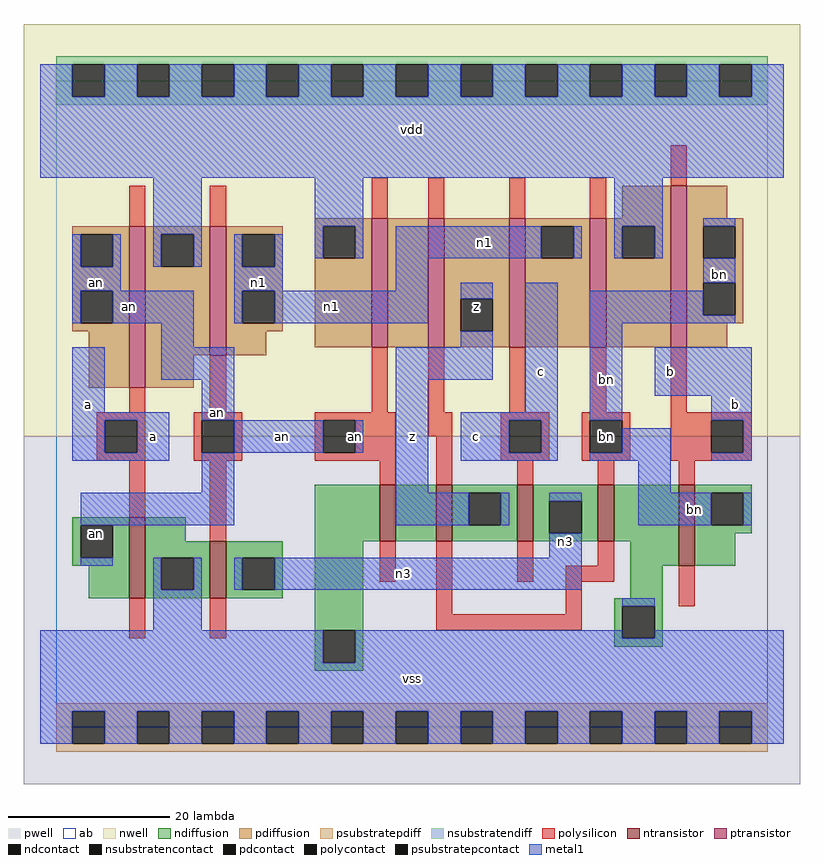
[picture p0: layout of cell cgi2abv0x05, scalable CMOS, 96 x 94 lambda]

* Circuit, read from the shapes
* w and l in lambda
.subckt cgi2abv0x05 a an b bn c n1 n3 vdd vss z
M1 vss a an vss nfet w=10 l=2
M2 n3 an vss vss nfet w=7 l=2
M3 n2 an vss vss nfet w=7 l=2
M4 z bn n2 vss nfet w=7 l=2
M5 n3 c z vss nfet w=7 l=2
M6 vss bn n3 vss nfet w=7 l=2
M7 bn b vss vss nfet w=10 l=2
M8 vdd a an vdd pfet w=20 l=2
M9 n1 an vdd vdd pfet w=16 l=2
M10 n4 an vdd vdd pfet w=16 l=2
M11 z bn n4 vdd pfet w=16 l=2
M12 n1 c z vdd pfet w=16 l=2
M13 vdd bn n1 vdd pfet w=16 l=2
M14 bn b vdd vdd pfet w=20 l=2
.ends

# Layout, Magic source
magic
tech scmos
<< ab >>
rect 0 0 88 80
<< pwell >>
rect -4 -7 92 36
<< nwell >>
rect -4 36 92 87
<< polysilicon >>
rect 9 62 11 67
rect 19 62 21 67
rect 39 63 41 68
rect 46 63 48 68
rect 56 63 58 68
rect 66 63 68 68
rect 76 67 78 72
rect 9 39 11 42
rect 19 39 21 46
rect 39 39 41 47
rect 46 39 48 47
rect 56 39 58 47
rect 66 39 68 47
rect 76 39 78 47
rect 5 38 11 39
rect 5 34 6 38
rect 10 34 11 38
rect 5 33 11 34
rect 17 38 23 39
rect 17 34 18 38
rect 22 34 23 38
rect 17 33 23 34
rect 32 38 42 39
rect 32 34 33 38
rect 37 34 42 38
rect 46 36 49 39
rect 32 33 42 34
rect 9 26 11 33
rect 19 23 21 33
rect 40 30 42 33
rect 47 30 49 36
rect 55 38 61 39
rect 55 34 56 38
rect 60 34 61 38
rect 55 33 61 34
rect 65 38 71 39
rect 65 34 66 38
rect 70 34 71 38
rect 65 33 71 34
rect 76 38 86 39
rect 76 34 81 38
rect 85 34 86 38
rect 76 33 86 34
rect 57 30 59 33
rect 67 30 69 33
rect 77 30 79 33
rect 9 11 11 16
rect 19 11 21 16
rect 40 18 42 23
rect 47 14 49 23
rect 57 18 59 23
rect 67 20 69 23
rect 63 18 69 20
rect 63 14 65 18
rect 47 12 65 14
rect 77 15 79 20
<< ndiffusion >>
rect 2 25 9 26
rect 2 21 3 25
rect 7 21 9 25
rect 2 20 9 21
rect 4 16 9 20
rect 11 23 16 26
rect 32 23 40 30
rect 42 23 47 30
rect 49 29 57 30
rect 49 25 51 29
rect 55 25 57 29
rect 49 23 57 25
rect 59 28 67 30
rect 59 24 61 28
rect 65 24 67 28
rect 59 23 67 24
rect 69 23 77 30
rect 11 21 19 23
rect 11 17 13 21
rect 17 17 19 21
rect 11 16 19 17
rect 21 21 28 23
rect 21 17 23 21
rect 27 17 28 21
rect 21 16 28 17
rect 32 12 38 23
rect 71 20 77 23
rect 79 29 86 30
rect 79 25 81 29
rect 85 25 86 29
rect 79 24 86 25
rect 79 20 84 24
rect 71 16 75 20
rect 69 15 75 16
rect 32 8 33 12
rect 37 8 38 12
rect 69 11 70 15
rect 74 11 75 15
rect 69 10 75 11
rect 32 7 38 8
<< pdiffusion >>
rect 70 63 76 67
rect 32 62 39 63
rect 2 61 9 62
rect 2 57 3 61
rect 7 57 9 61
rect 2 54 9 57
rect 2 50 3 54
rect 7 50 9 54
rect 2 49 9 50
rect 4 42 9 49
rect 11 61 19 62
rect 11 57 13 61
rect 17 57 19 61
rect 11 46 19 57
rect 21 61 28 62
rect 21 57 23 61
rect 27 57 28 61
rect 21 54 28 57
rect 21 50 23 54
rect 27 50 28 54
rect 21 49 28 50
rect 32 58 33 62
rect 37 58 39 62
rect 21 46 26 49
rect 32 47 39 58
rect 41 47 46 63
rect 48 53 56 63
rect 48 49 50 53
rect 54 49 56 53
rect 48 47 56 49
rect 58 62 66 63
rect 58 58 60 62
rect 64 58 66 62
rect 58 47 66 58
rect 68 62 76 63
rect 68 58 70 62
rect 74 58 76 62
rect 68 47 76 58
rect 78 63 83 67
rect 78 62 85 63
rect 78 58 80 62
rect 84 58 85 62
rect 78 55 85 58
rect 78 51 80 55
rect 84 51 85 55
rect 78 50 85 51
rect 78 47 83 50
rect 11 42 17 46
<< metal1 >>
rect -2 78 2 82
rect 6 78 10 82
rect 14 78 18 82
rect 22 78 26 82
rect 30 78 34 82
rect 38 78 42 82
rect 46 78 50 82
rect 54 78 58 82
rect 62 78 66 82
rect 70 78 74 82
rect 78 78 82 82
rect 86 78 90 82
rect -2 68 90 78
rect 12 61 18 68
rect 32 62 38 68
rect 69 62 75 68
rect 2 57 3 61
rect 7 57 8 61
rect 12 57 13 61
rect 17 57 18 61
rect 22 57 23 61
rect 27 57 28 61
rect 32 58 33 62
rect 37 58 38 62
rect 42 58 60 62
rect 64 58 65 62
rect 69 58 70 62
rect 74 58 75 62
rect 80 62 84 63
rect 2 54 8 57
rect 22 54 28 57
rect 42 54 46 58
rect 80 55 84 58
rect 2 50 3 54
rect 7 50 17 54
rect 22 50 23 54
rect 27 50 46 54
rect 50 53 54 55
rect 13 47 17 50
rect 50 47 54 49
rect 2 39 6 47
rect 13 43 22 47
rect 2 38 14 39
rect 2 34 6 38
rect 10 34 14 38
rect 2 33 14 34
rect 18 38 22 43
rect 42 43 54 47
rect 22 34 33 38
rect 37 34 38 38
rect 18 29 22 34
rect 3 25 22 29
rect 42 29 46 43
rect 58 39 62 55
rect 50 38 62 39
rect 50 34 56 38
rect 60 34 62 38
rect 50 33 62 34
rect 66 51 80 54
rect 66 50 84 51
rect 66 38 70 50
rect 74 41 86 47
rect 81 38 86 41
rect 70 34 76 37
rect 66 33 76 34
rect 85 34 86 38
rect 81 33 86 34
rect 72 29 76 33
rect 42 25 51 29
rect 55 25 56 29
rect 61 28 65 29
rect 72 25 81 29
rect 85 25 86 29
rect 61 21 65 24
rect 3 20 7 21
rect 12 17 13 21
rect 17 17 18 21
rect 22 17 23 21
rect 27 17 65 21
rect 12 12 18 17
rect 70 15 74 16
rect -2 8 33 12
rect 37 11 70 12
rect 74 11 90 12
rect 37 8 90 11
rect -2 2 90 8
rect -2 -2 2 2
rect 6 -2 10 2
rect 14 -2 18 2
rect 22 -2 26 2
rect 30 -2 34 2
rect 38 -2 42 2
rect 46 -2 50 2
rect 54 -2 58 2
rect 62 -2 66 2
rect 70 -2 74 2
rect 78 -2 82 2
rect 86 -2 90 2
<< ntransistor >>
rect 9 16 11 26
rect 40 23 42 30
rect 47 23 49 30
rect 57 23 59 30
rect 67 23 69 30
rect 19 16 21 23
rect 77 20 79 30
<< ptransistor >>
rect 9 42 11 62
rect 19 46 21 62
rect 39 47 41 63
rect 46 47 48 63
rect 56 47 58 63
rect 66 47 68 63
rect 76 47 78 67
<< polycontact >>
rect 6 34 10 38
rect 18 34 22 38
rect 33 34 37 38
rect 56 34 60 38
rect 66 34 70 38
rect 81 34 85 38
<< ndcontact >>
rect 3 21 7 25
rect 51 25 55 29
rect 61 24 65 28
rect 13 17 17 21
rect 23 17 27 21
rect 81 25 85 29
rect 33 8 37 12
rect 70 11 74 15
<< pdcontact >>
rect 3 57 7 61
rect 3 50 7 54
rect 13 57 17 61
rect 23 57 27 61
rect 23 50 27 54
rect 33 58 37 62
rect 50 49 54 53
rect 60 58 64 62
rect 70 58 74 62
rect 80 58 84 62
rect 80 51 84 55
<< psubstratepcontact >>
rect 2 -2 6 2
rect 10 -2 14 2
rect 18 -2 22 2
rect 26 -2 30 2
rect 34 -2 38 2
rect 42 -2 46 2
rect 50 -2 54 2
rect 58 -2 62 2
rect 66 -2 70 2
rect 74 -2 78 2
rect 82 -2 86 2
<< nsubstratencontact >>
rect 2 78 6 82
rect 10 78 14 82
rect 18 78 22 82
rect 26 78 30 82
rect 34 78 38 82
rect 42 78 46 82
rect 50 78 54 82
rect 58 78 62 82
rect 66 78 70 82
rect 74 78 78 82
rect 82 78 86 82
<< psubstratepdiff >>
rect 0 2 88 3
rect 0 -2 2 2
rect 6 -2 10 2
rect 14 -2 18 2
rect 22 -2 26 2
rect 30 -2 34 2
rect 38 -2 42 2
rect 46 -2 50 2
rect 54 -2 58 2
rect 62 -2 66 2
rect 70 -2 74 2
rect 78 -2 82 2
rect 86 -2 88 2
rect 0 -3 88 -2
<< nsubstratendiff >>
rect 0 82 88 83
rect 0 78 2 82
rect 6 78 10 82
rect 14 78 18 82
rect 22 78 26 82
rect 30 78 34 82
rect 38 78 42 82
rect 46 78 50 82
rect 54 78 58 82
rect 62 78 66 82
rect 70 78 74 82
rect 78 78 82 82
rect 86 78 88 82
rect 0 77 88 78
<< labels >>
rlabel polysilicon 20 39 20 39 6 an
rlabel polysilicon 37 36 37 36 6 an
rlabel polycontact 68 36 68 36 6 bn
rlabel ndcontact 5 24 5 24 6 an
rlabel metal1 4 40 4 40 6 a
rlabel metal1 12 36 12 36 6 a
rlabel metal1 5 55 5 55 6 an
rlabel metal1 25 55 25 55 6 n1
rlabel metal1 9 52 9 52 6 an
rlabel metal1 44 6 44 6 6 vss
rlabel metal1 28 36 28 36 6 an
rlabel metal1 44 36 44 36 6 z
rlabel metal1 34 52 34 52 6 n1
rlabel metal1 44 74 44 74 6 vdd
rlabel metal1 43 19 43 19 6 n3
rlabel metal1 63 23 63 23 6 n3
rlabel metal1 52 36 52 36 6 c
rlabel metal1 60 44 60 44 6 c
rlabel pdcontact 52 52 52 52 6 z
rlabel metal1 68 43 68 43 6 bn
rlabel metal1 53 60 53 60 6 n1
rlabel metal1 79 27 79 27 6 bn
rlabel metal1 84 40 84 40 6 b
rlabel metal1 76 44 76 44 6 b
rlabel metal1 82 56 82 56 6 bn
<< end >>
